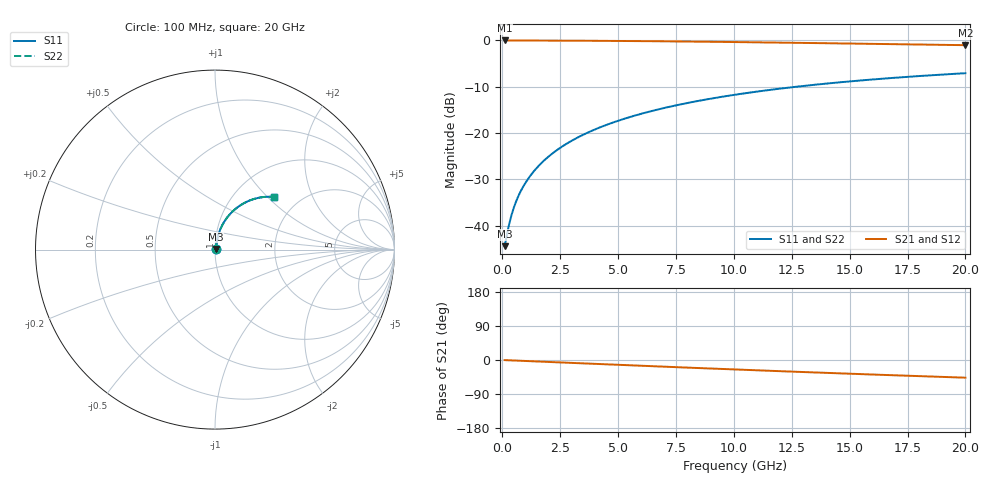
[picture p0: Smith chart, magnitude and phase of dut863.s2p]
! Touchstone file exported from HFSS 2026.1.0
!  File:  C:/ffzhzh/LocalFiles/Ansys_Project_Files/temp_train_TMRDL_863_1783157173_51560.aedt
!  Generated:  05:27:23 PM Jul  4, 2026
!  Design:  TMRDL
!  Project:  temp_train_TMRDL_863_1783157173_51560
! Variables:
!  h_bsmrdl = 2um
!  h_ox = 20um
!  h_rdl = 5um
!  h_sub = 80um
!  h_tmrdl = 2.44um
!  h_tsv = 80um
!  h_via = 3um
!  l_bsmrdl = 300um
!  l_sub = 1072.55um
!  l_tmrdl = 672.55um
!  m_sub = 200um
!  pitch = 46.27um
!  r_tsv = 6um
!  s_tmrdl = 10um
!  w_bsmrdl = 18um
!  w_sub = 500um
!  w_tmrdl = 19.55um
!  x_tsv_center1 = 682.325um
!  x_tsv_center2 = 1000.325um
!  x_tsv_center3 = 1692.425um
!  x_tsv_center4 = 2010.425um
!  x_tsv_center5 = 2702.525um
!  x_tsv_center6 = 3020.525um
# GHz S MA R 50.000000
! Terminal data exported
! Port[1] = TM_RDL1_1_T1
! Port[2] = TM_RDL1_1_T2
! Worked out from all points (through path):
!   200 points, 100 MHz to 20 GHz, reference 50 ohm
!   highest |S21| = -0.05 dB at 100 MHz (marker M1); lowest = -1.1 dB at 20 GHz (marker M2)
!   group delay of S21, straight-line fit = 6.5 ps
!   lowest |S11| = -44.4 dB at 100 MHz (marker M3), VSWR 1.01, Z = 50.5 + j0.303 ohm
!   |S11| at or under -10 dB: start of sweep to 12.75 GHz
!   |S22| runs from -44.4 to -7.1 dB; largest |S21 - S12| = 2.7e-15
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0.1  0.006011 29.9  0.9948 -0.3  0.9948 -0.3  0.006011 29.9
! Gamma 0 0 0 0
! Port Impedance 50 0 50 0
0.3  0.01047 57.7  0.9945 -0.8  0.9945 -0.8  0.01047 57.7
0.4  0.01307 63.3  0.9943 -1.1  0.9943 -1.1  0.01307 63.3
0.5  0.01571 66.9  0.9941 -1.3  0.9941 -1.3  0.01571 66.9
0.6  0.01836 69.4  0.9939 -1.6  0.9939 -1.6  0.01836 69.4
0.8  0.02366 72.6  0.9935 -2.1  0.9935 -2.1  0.02366 72.6
1.1  0.03162 75.3  0.993 -2.9  0.993 -2.9  0.03162 75.3
1.3  0.03695 76.3  0.9927 -3.4  0.9927 -3.4  0.03695 76.3
1.6  0.04497 77.2  0.9923 -4.1  0.9923 -4.1  0.04497 77.2
2.1  0.05838 77.8  0.9914 -5.4  0.9914 -5.4  0.05838 77.8
2.7  0.07448 77.6  0.9902 -6.9  0.9902 -6.9  0.07448 77.6
3.5  0.09585 76.7  0.9881 -9.0  0.9881 -9.0  0.09585 76.7
4.2  0.1144 75.5  0.986 -10.7  0.986 -10.7  0.1144 75.5
5  0.1353 74.0  0.983 -12.7  0.983 -12.7  0.1353 74.0
5.9  0.1585 72.1  0.9793 -15.0  0.9793 -15.0  0.1585 72.1
6.8  0.1812 70.1  0.975 -17.2  0.975 -17.2  0.1812 70.1
8.3  0.2178 66.8  0.9669 -20.8  0.9669 -20.8  0.2178 66.8
10.1  0.2596 62.7  0.9559 -25.1  0.9559 -25.1  0.2596 62.7
11.7  0.2945 59.2  0.9452 -28.8  0.9452 -28.8  0.2945 59.1
13.4  0.3293 55.4  0.9332 -32.7  0.9332 -32.7  0.3293 55.4
16.7  0.3897 48.4  0.909 -39.9  0.909 -39.9  0.3897 48.4
20  0.441 41.8  0.8849 -46.7  0.8849 -46.7  0.441 41.7
